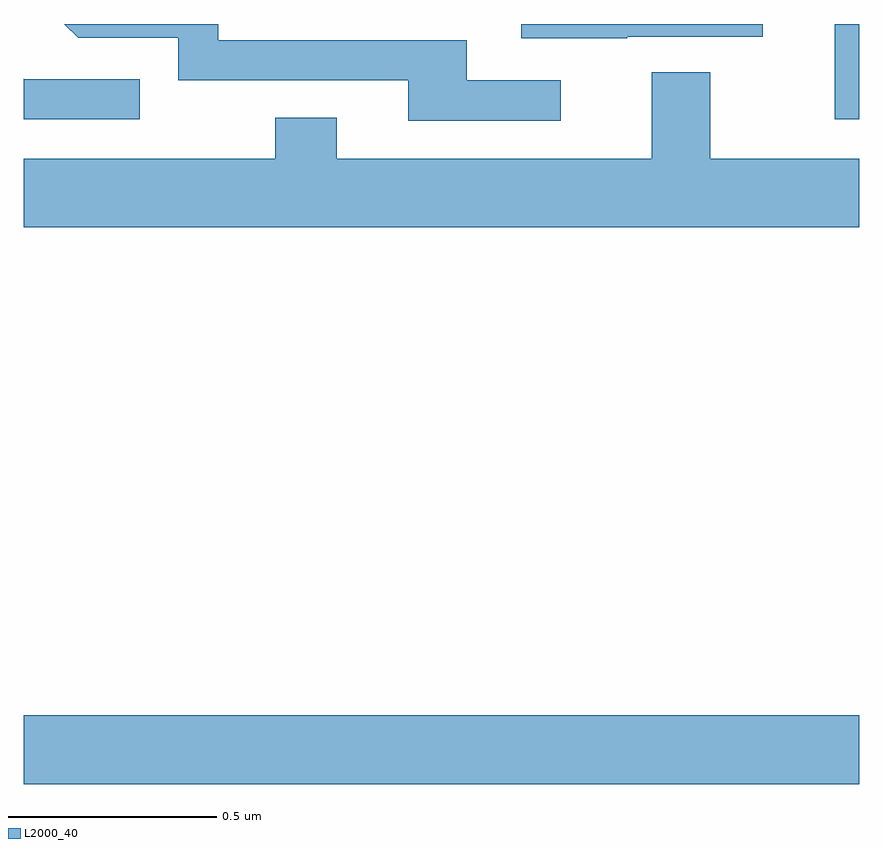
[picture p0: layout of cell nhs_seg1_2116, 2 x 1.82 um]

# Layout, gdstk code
import gdstk
lib = gdstk.Library(unit=1e-6, precision=1e-09)
def R(c, l, rs):  # rectangles x0, y0, x1, y1
    for r in rs: c.add(gdstk.rectangle(r[:2], r[2:], *l))
def P(c, l, *ps):  # polygons
    for p in ps: c.add(gdstk.Polygon(p, *l))
L2000_40 = (2000, 40)

nhs_seg1_2116 = lib.new_cell('nhs_seg1_2116')
R(nhs_seg1_2116, L2000_40, [(137,570.38,139,570.544), (138.941,571.971,139,572.199)])
P(nhs_seg1_2116, L2000_40, [(138.286,572.064),(138.061,572.064),(138.061,572.16),(137.466,572.16),(137.466,572.199),(137.097,572.199),(137.13,572.166),(137.37,572.166),(137.37,572.064),(137.921,572.064),(137.921,571.968),(138.286,571.968)],
  [(138.445,572.169),(138.769,572.169),(138.769,572.199),(138.191,572.199),(138.191,572.165),(138.445,572.165)],
  [(139,571.876),(138.643,571.876),(138.643,572.084),(138.503,572.084),(138.503,571.876),(137.749,571.876),(137.749,571.975),(137.602,571.975),(137.602,571.876),(137,571.876),(137,571.712),(139,571.712)],
  [(137.278,572.067),(137.001,572.067),(137,572.068),(137,571.971),(137.278,571.971)])

lib.write_gds('nhs_seg1_2116.gds')
